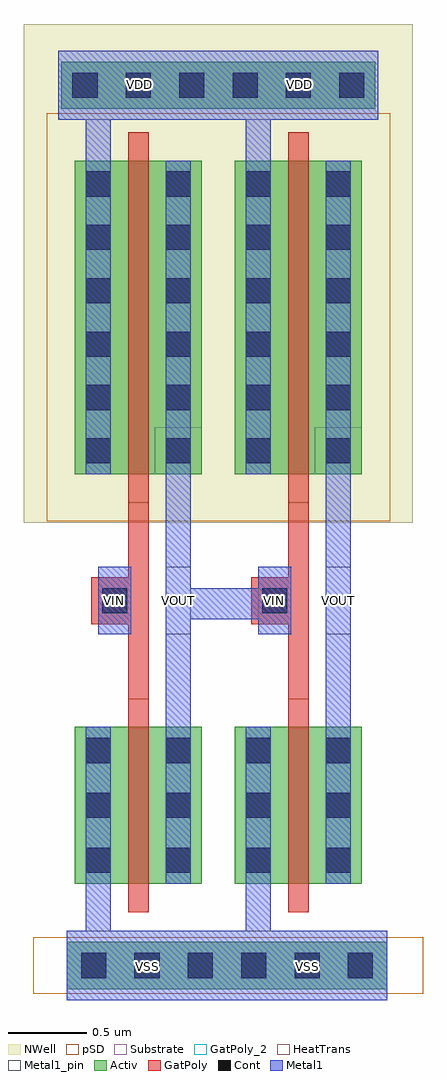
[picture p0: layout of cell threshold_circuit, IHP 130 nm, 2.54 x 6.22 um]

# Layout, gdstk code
from math import pi, radians
import gdstk
lib = gdstk.Library(unit=1e-6, precision=1e-09)
def R(c, l, rs):  # rectangles x0, y0, x1, y1
    for r in rs: c.add(gdstk.rectangle(r[:2], r[2:], *l))
def A(c, l, x, y, w, h, nx, ny, dx, dy):  # array of equal rectangles
    R(c, l, [(x+i*dx, y+j*dy, x+i*dx+w, y+j*dy+h) for i in range(nx) for j in range(ny)])
def P(c, l, *ps):  # polygons
    for p in ps: c.add(gdstk.Polygon(p, *l))
Activ = (1, 0)
GatPoly = (5, 0)
GatPoly_2 = (5, 2)
Cont = (6, 0)
Metal1 = (8, 0)
Metal1_pin = (8, 2)
pSD = (14, 0)
NWell = (31, 0)
Substrate = (40, 0)
HeatTrans = (51, 0)

pmos = lib.new_cell('pmos')
R(pmos, Activ, [(0,0,0.3,0.3), (0,0,0.81,2), (0.51,0,0.81,0.3)])
R(pmos, GatPoly, [(0.34,-0.18,0.47,2.18), (0.34,-0.18,0.47,2.18)])
A(pmos, Cont, 0.07, 0.07, 0.16, 0.16, 1, 6, 0, 0.34)
A(pmos, Cont, 0.58, 0.07, 0.16, 0.16, 1, 6, 0, 0.34)
R(pmos, Metal1, [(0.07,0,0.23,2), (0.07,0,0.23,2), (0.58,0,0.74,2), (0.58,0,0.74,2)])
R(pmos, pSD, [(-0.18,-0.3,0.99,2.3)])
R(pmos, NWell, [(-0.31,-0.31,1.12,2.31)])
R(pmos, Substrate, [(0.51,0,0.81,0.3)])
R(pmos, HeatTrans, [(0.34,-0.18,0.47,2.18)])
pmos.add(gdstk.Label('pmos', (0.405,1), layer=63, texttype=0))
pmos.add(gdstk.Label('pmos', (0.405,1), layer=51, texttype=0))

nmos_1 = lib.new_cell('nmos$1')
R(nmos_1, Activ, [(0,0,0.3,0.3), (0,0,0.81,1), (0.51,0,0.81,0.3)])
R(nmos_1, GatPoly, [(0.34,-0.18,0.47,1.18)])
R(nmos_1, GatPoly_2, [(0.34,-0.18,0.47,1.18)])
A(nmos_1, Cont, 0.07, 0.07, 0.16, 0.16, 1, 3, 0, 0.35)
A(nmos_1, Cont, 0.58, 0.07, 0.16, 0.16, 1, 3, 0, 0.35)
R(nmos_1, Metal1, [(0.07,0,0.23,1), (0.58,0,0.74,1)])
R(nmos_1, Metal1_pin, [(0.07,0,0.23,1), (0.58,0,0.74,1)])
R(nmos_1, HeatTrans, [(0.34,-0.18,0.47,1.18)])
nmos_1.add(gdstk.Label('nmos', (0.405,0.5), layer=63, texttype=0))
nmos_1.add(gdstk.Label('nmos', (0.405,0.5), layer=51, texttype=0))

via_stack = lib.new_cell('via_stack')
R(via_stack, Activ, [(-0.49,-0.15,0.49,0.15)])
A(via_stack, Cont, -0.42, -0.08, 0.16, 0.16, 3, 1, 0.34, 0)
R(via_stack, Metal1, [(-0.47,-0.08,0.47,0.08)])

via_stack_1 = lib.new_cell('via_stack$1')
R(via_stack_1, GatPoly, [(-0.15,-0.15,0.15,0.15)])
R(via_stack_1, Cont, [(-0.08,-0.08,0.08,0.08)])
R(via_stack_1, Metal1, [(-0.13,-0.08,0.13,0.08)])

threshold_circuit = lib.new_cell('threshold_circuit')
R(threshold_circuit, Activ, [(0.89,5.62,2.89,5.92)])
R(threshold_circuit, GatPoly, [(1.315,1.86,1.445,3.11), (2.335,1.86,2.465,3.11)])
R(threshold_circuit, Metal1, [(1.045,0.38,1.205,1.08), (2.065,0.38,2.225,1.08), (1.555,1.135,1.715,3.725), (2.575,1.135,2.735,3.725), (1.125,2.27,1.335,2.7), (2.145,2.27,2.355,2.7), (1.555,2.365,2.33,2.565), (1.045,4.67,1.205,5.76), (2.065,4.67,2.225,5.76), (0.89,5.62,1.87,5.92), (1.91,5.62,2.89,5.92)])
P(threshold_circuit, Metal1, [(1.045,5.01),(1.045,5.01),(1.205,5.01),(1.205,5.01)],
  [(2.065,5.01),(2.065,5.01),(2.225,5.01),(2.225,5.01)])
R(threshold_circuit, Metal1_pin, [(0.925,-0.06,1.945,0.38), (1.945,-0.06,2.965,0.38), (1.125,2.27,1.335,2.7), (1.555,2.27,1.715,2.7), (2.145,2.27,2.355,2.7), (2.575,2.27,2.735,2.7), (0.87,5.55,1.89,5.99), (1.89,5.55,2.91,5.99)])
R(threshold_circuit, pSD, [(0.71,-0.02,3.195,0.34)])
R(threshold_circuit, NWell, [(0.65,2.98,3.13,6.16)])
threshold_circuit.add(gdstk.FlexPath([(0.925,0.16),(1.945,0.16)], 0.44, ends="flush", simple_path=True, layer=8, datatype=0))  # Metal1
threshold_circuit.add(gdstk.FlexPath([(1.945,0.16),(2.965,0.16)], 0.44, ends="flush", simple_path=True, layer=8, datatype=0))  # Metal1
threshold_circuit.add(gdstk.FlexPath([(1.89,5.77),(2.91,5.77)], 0.44, ends="flush", simple_path=True, layer=8, datatype=0))  # Metal1
threshold_circuit.add(gdstk.FlexPath([(0.87,5.77),(1.89,5.77)], 0.44, ends="flush", simple_path=True, layer=8, datatype=0))  # Metal1
threshold_circuit.add(gdstk.FlexPath([(0.925,0.16),(1.945,0.16)], 0.3, ends="flush", simple_path=True, layer=1, datatype=0))  # Activ
threshold_circuit.add(gdstk.FlexPath([(0.925,0.16),(1.945,0.16)], 0.3, ends="flush", simple_path=True, layer=1, datatype=0))  # Activ
threshold_circuit.add(gdstk.FlexPath([(1.945,0.16),(2.965,0.16)], 0.3, ends="flush", simple_path=True, layer=1, datatype=0))  # Activ
threshold_circuit.add(gdstk.FlexPath([(1.945,0.16),(2.965,0.16)], 0.3, ends="flush", simple_path=True, layer=1, datatype=0))  # Activ
threshold_circuit.add(gdstk.Reference(pmos, (0.975,3.29)))
threshold_circuit.add(gdstk.Reference(nmos_1, (0.975,0.68)))
threshold_circuit.add(gdstk.Reference(via_stack, (1.435,0.16)))
threshold_circuit.add(gdstk.Reference(via_stack, (1.38,5.77)))
threshold_circuit.add(gdstk.Reference(via_stack_1, (1.23,2.485), rotation=3*pi/2))
threshold_circuit.add(gdstk.Reference(pmos, (1.995,3.29)))
threshold_circuit.add(gdstk.Reference(nmos_1, (1.995,0.68)))
threshold_circuit.add(gdstk.Reference(via_stack, (2.455,0.16)))
threshold_circuit.add(gdstk.Reference(via_stack, (2.4,5.77)))
threshold_circuit.add(gdstk.Reference(via_stack_1, (2.25,2.485), rotation=3*pi/2))
threshold_circuit.add(gdstk.Label('VSS', (1.44,0.155), layer=8, texttype=25))
threshold_circuit.add(gdstk.Label('VSS', (2.46,0.155), layer=8, texttype=25))
threshold_circuit.add(gdstk.Label('VDD', (2.41,5.775), layer=8, texttype=25))
threshold_circuit.add(gdstk.Label('VIN', (2.25,2.485), layer=8, texttype=25))
threshold_circuit.add(gdstk.Label('VOUT', (2.655,2.485), layer=8, texttype=25))
threshold_circuit.add(gdstk.Label('VDD', (1.39,5.775), layer=8, texttype=25))
threshold_circuit.add(gdstk.Label('VIN', (1.23,2.485), layer=8, texttype=25))
threshold_circuit.add(gdstk.Label('VOUT', (1.635,2.485), layer=8, texttype=25))

lib.write_gds('threshold_circuit.gds')
